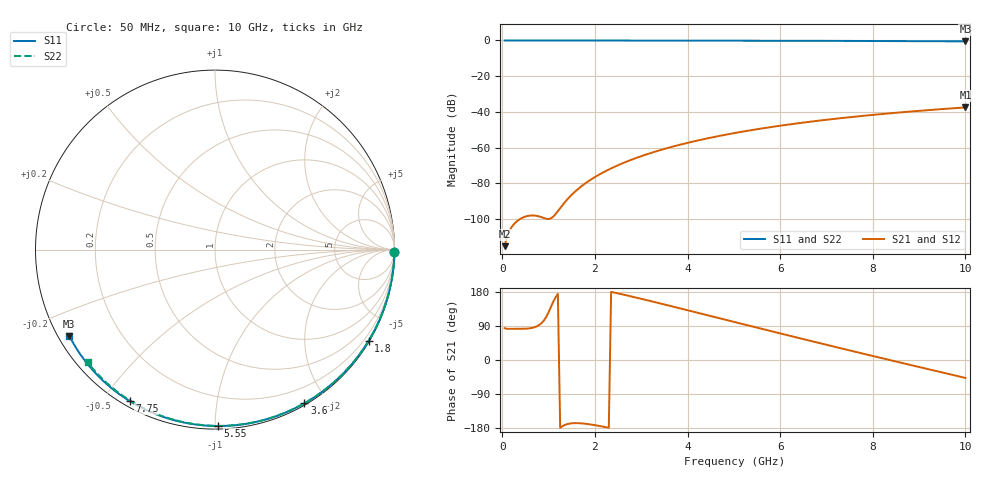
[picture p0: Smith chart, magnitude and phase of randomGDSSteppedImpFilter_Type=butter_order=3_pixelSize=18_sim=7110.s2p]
! freq	dB(S11)	phase(S11)	dB(S12)	phase(S12)
!  dB(S21)	phase(S21)	dB(S22)	phase(S22)
!S-par simulation data
#  GHz  S  DB  R 50
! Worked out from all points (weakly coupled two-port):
!   200 points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, 50 MHz to 10 GHz, reference 50 ohm
!   highest |S21| = -37.48 dB at 10 GHz (marker M1); lowest = -115.1 dB at 50 MHz (marker M2)
!   lowest |S11| = -0.5 dB at 10 GHz (marker M3), VSWR 34.44, Z = 1.56 - j13.7 ohm
!   |S11| at or under -10 dB: nowhere
!   |S22| runs from -0.5 to 0.0 dB; largest |S21 - S12| = 0
!   S11 on the Smith chart (normalised r, x): 50 MHz: open; 1.8 GHz: 0.03, -3.64; 3.6 GHz: 0.02, -1.74; 5.55 GHz: 0.02, -1.02; 7.75 GHz: 0.02, -0.58; 10 GHz: 0.03, -0.27
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0.05  -0.00 -0.9  -115.12 84.1  -115.12 84.1  -0.00 -0.8
0.45  -0.01 -7.8  -99.04 82.4  -99.04 82.4  -0.01 -7.2
0.9  -0.02 -15.5  -99.39 104.6  -99.39 104.6  -0.02 -14.4
1.3  -0.03 -22.3  -92.12 -174.6  -92.12 -174.6  -0.03 -20.6
1.75  -0.04 -29.9  -80.78 -167.6  -80.78 -167.6  -0.04 -27.7
1.8  -0.04 -30.7  -79.83 -168.3  -79.83 -168.3  -0.04 -28.4
1.95  -0.04 -33.2  -77.24 -170.9  -77.24 -170.9  -0.04 -30.7
2.1  -0.05 -35.7  -74.95 -174.1  -74.95 -174.1  -0.04 -33.1
2.3  -0.05 -39.0  -72.23 -178.9  -72.23 -178.9  -0.05 -36.1
2.5  -0.05 -42.2  -69.82 175.8  -69.82 175.8  -0.05 -39.2
2.9  -0.06 -48.7  -65.68 164.5  -65.68 164.5  -0.06 -45.2
3.4  -0.08 -56.7  -61.45 149.6  -61.45 149.6  -0.07 -52.6
3.6  -0.08 -59.8  -59.97 143.6  -59.97 143.6  -0.07 -55.5
4.3  -0.10 -70.6  -55.51 122.2  -55.51 122.2  -0.09 -65.6
5.05  -0.13 -81.8  -51.65 99.2  -51.65 99.2  -0.12 -76.0
5.55  -0.15 -89.0  -49.47 83.9  -49.47 83.9  -0.14 -82.8
6.1  -0.17 -96.9  -47.35 67.2  -47.35 67.2  -0.16 -90.1
6.7  -0.21 -105.2  -45.31 49.1  -45.31 49.1  -0.19 -97.9
7.75  -0.28 -119.4  -42.29 17.9  -42.29 17.9  -0.26 -111.2
8.35  -0.33 -127.4  -40.81 0.3  -40.81 0.3  -0.30 -118.5
9.2  -0.41 -138.7  -38.98 -24.3  -38.98 -24.3  -0.38 -128.9
10  -0.50 -149.3  -37.48 -47.3  -37.48 -47.3  -0.47 -138.5
